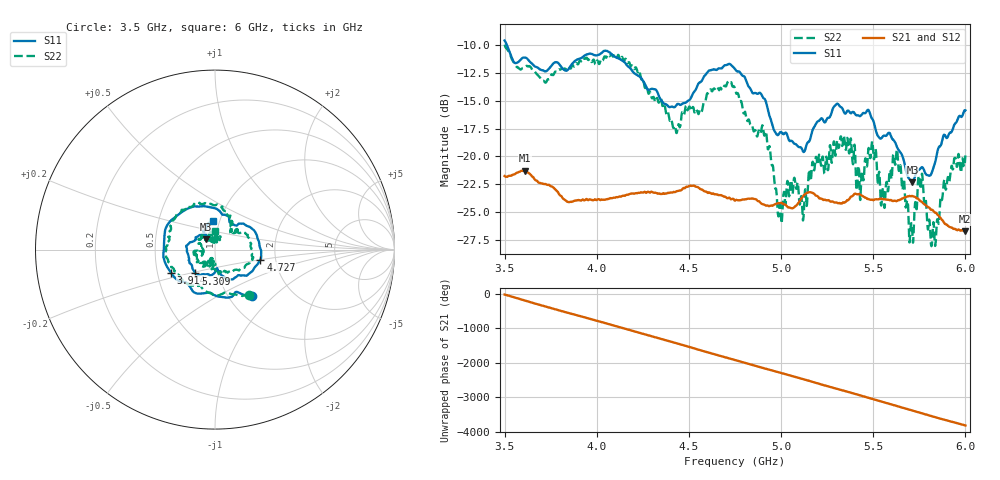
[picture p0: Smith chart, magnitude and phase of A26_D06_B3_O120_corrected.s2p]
! Created with skrf 1.9.0 (http://scikit-rf.org).
# Hz S RI R 50.0
!freq ReS11 ImS11 ReS21 ImS21 ReS12 ImS12 ReS22 ImS22
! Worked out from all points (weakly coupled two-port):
!   1601 points, 3.5 GHz to 6 GHz, reference 50 ohm
!   highest |S21| = -21.28 dB at 3.609 GHz (marker M1); lowest = -26.8 dB at 5.995 GHz (marker M2)
!   lowest |S11| = -22.3 dB at 5.713 GHz (marker M3), VSWR 1.17, Z = 45 + j5.29 ohm
!   |S11| at or under -10 dB: 3.513 GHz to end of sweep
!   |S22| runs from -28.1 to -9.9 dB; largest |S21 - S12| = 0.00094
!   S11 on the Smith chart (normalised r, x): 3.5 GHz: 1.28, -0.75; 3.914 GHz: 0.59, -0.16; 4.727 GHz: 1.66, -0.20; 5.309 GHz: 0.78, -0.21; 6 GHz: 0.93, +0.31
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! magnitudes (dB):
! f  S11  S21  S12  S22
! 3.5 GHz  -9.6  -21.8  -21.7  -9.9
! 3.609 GHz  -11.1  -21.3  -21.3  -11.9
! 3.914 GHz  -11.2  -24.0  -23.9  -11.4
! 3.917 GHz  -11.1  -24.0  -23.9  -11.4
! 4.334 GHz  -14.4  -23.4  -23.3  -15.1
! 4.427 GHz  -15.5  -23.2  -23.2  -17.4
! 4.727 GHz  -11.7  -23.9  -23.7  -13.3
! 4.75 GHz  -12.1  -24.0  -23.9  -13.9
! 4.909 GHz  -14.8  -24.4  -24.3  -18.1
! 4.994 GHz  -17.9  -24.2  -24.1  -24.4
! 5.167 GHz  -17.8  -23.3  -23.2  -20.9
! 5.309 GHz  -15.3  -24.2  -24.1  -18.9
! 5.42 GHz  -16.3  -23.4  -23.4  -20.9
! 5.486 GHz  -16.3  -23.9  -23.8  -20.1
! 5.552 GHz  -18.2  -23.9  -23.8  -22.9
! 5.584 GHz  -17.9  -23.9  -23.9  -22.3
! 5.636 GHz  -19.4  -24.0  -23.9  -20.9
! 5.713 GHz  -22.3  -23.6  -23.5  -27.1
! 5.755 GHz  -21.1  -24.0  -24.0  -22.7
! 5.827 GHz  -21.0  -24.9  -24.9  -25.9
! 5.995 GHz  -15.9  -26.8  -26.6  -20.8
! 6 GHz  -15.9  -26.7  -26.7  -19.9
